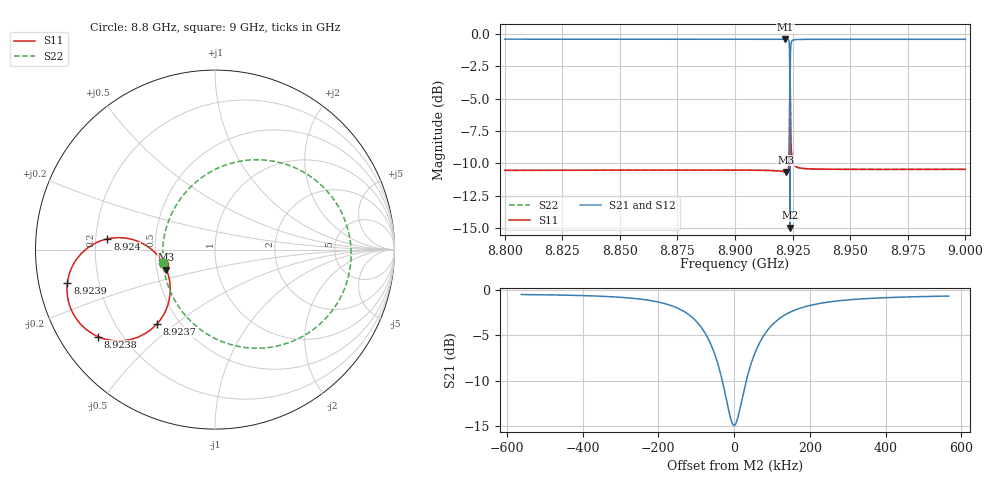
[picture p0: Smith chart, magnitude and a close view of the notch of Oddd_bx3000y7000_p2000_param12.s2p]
! Sonnet Data File
! From: emgraph Version : 16.52
! From Project: Resonator2
! Data is De-embedded
! Data File Written: 10/05/2017 10:46:05
!< HDATE 10/04/2017 20:26:48
!< MDATE 10/05/2017 00:36:07
!< PARAMS
!< gap = 100.0
!< Length = 400.0
!< Pwid1 = 2000.0
!< Pwid2 = 2000.0
!< END PARAMS
# GHZ S MA R 50.00000
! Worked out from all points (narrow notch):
!   1595 points, 8.8 GHz to 9 GHz, reference 50 ohm
!   highest |S21| = -0.39 dB at 8.9218 GHz (marker M1); lowest = -15.0 dB at 8.9239 GHz (marker M2)
!   notch at M2: 14.6 dB deep, 94.7 kHz wide at half that depth
!   lowest |S11| = -10.7 dB at 8.9223 GHz (marker M3), VSWR 1.83, Z = 28.1 - j6.86 ohm
!   |S11| at or under -10 dB: start of sweep to 8.9234 GHz; 8.9253 GHz to end of sweep
!   |S22| runs from -10.7 to -2.4 dB; largest |S21 - S12| = 0
!   S11 on the Smith chart (normalised r, x): 8.8 GHz: 0.55, -0.10; 8.9237 GHz: 0.38, -0.43; 8.9238 GHz: 0.12, -0.33; 8.9239 GHz: 0.09, -0.11; 8.924 GHz: 0.25, +0.05; 9 GHz: 0.54, -0.08
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8.8  0.2969 -164.4  0.9549 -74.8  0.9549 -74.8  0.2969 -165.2
!< P1 F=8.8 Eeff=(5.36817953 -2.3731e-5) Z0=(35.9853883 8.0522e-5) R=0.0 C=0.0
!< P2 F=8.8 Eeff=(5.36817953 -2.3731e-5) Z0=(35.9853883 8.0522e-5) R=0.0 C=0.0
8.8334  0.2973 -164.7  0.9548 -75.1  0.9548 -75.1  0.2973 -165.6
8.8668  0.2976 -164.9  0.9547 -75.4  0.9547 -75.4  0.2976 -166.0
8.9  0.2976 -164.9  0.9547 -75.8  0.9547 -75.8  0.2976 -166.8
8.9218  0.2931 -159.7  0.9557 -78.3  0.9557 -78.3  0.2923 -176.8
8.922333  0.2928 -157.6  0.9556 -79.1  0.9556 -79.1  0.2912 179.3
8.923398  0.3216 -140.9  0.9407 -86.8  0.9407 -86.8  0.3062 146.2
8.923599  0.3966 -131.0  0.8996 -94.5  0.8996 -94.5  0.3601 116.7
8.923705  0.5246 -128.0  0.8058 -104.6  0.8058 -104.6  0.4615 86.1
8.923772  0.6824 -132.9  0.63 -115.8  0.63 -115.8  0.5934 55.9
8.923819  0.8119 -143.3  0.3822 -121.4  0.3822 -121.4  0.706 27.1
8.92386  0.8681 -157.0  0.1783 -78.2  0.1783 -78.2  0.7592 -2.6
8.923891  0.8436 -167.2  0.3085 -37.7  0.3085 -37.7  0.743 -24.1
8.923938  0.7429 -178.5  0.559 -38.0  0.559 -38.0  0.6632 -51.2
8.924005  0.6022 174.3  0.7504 -47.9  0.7504 -47.9  0.5489 -77.8
8.924092  0.4908 172.7  0.8494 -56.1  0.8494 -56.1  0.458 -98.9
8.924212  0.4151 174.6  0.8996 -62.1  0.8996 -62.1  0.3964 -116.0
8.924804  0.3296 -176.2  0.9426 -70.5  0.9426 -70.5  0.3261 -144.5
8.926805  0.306 -169.4  0.9519 -74.1  0.9519 -74.1  0.3056 -158.8
8.9334  0.3007 -166.8  0.9537 -75.3  0.9537 -75.3  0.3006 -163.9
8.9668  0.2995 -166.2  0.9541 -76.0  0.9541 -76.0  0.2995 -165.9
9  0.2997 -166.3  0.954 -76.4  0.954 -76.4  0.2997 -166.4
